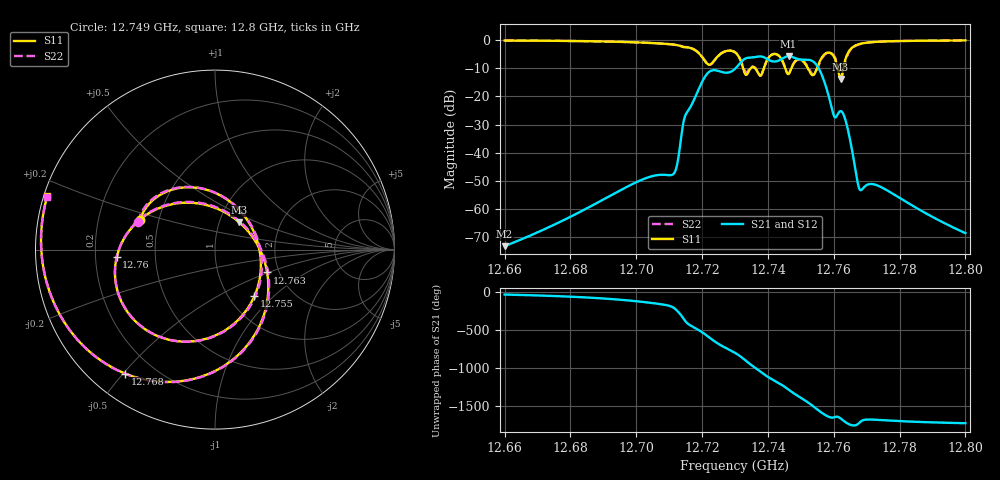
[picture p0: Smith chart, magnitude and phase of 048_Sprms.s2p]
! TOUCHSTONE file generated by CST MICROWAVE STUDIO
! Date and time: Wed Jul 31 13:05:54 2024
! Project name: WaveGuide_BPF-Ver4.1_U-shape_Ku_T3_C4_CWA_2.cst
! Parameters = {cavity_h=16; cavity_l0=10; cavity_l1=15.2143; cavity_l2=16.8076; cavity_l3=17.0819; cavity_l4=17.2275; cavity_l5=17.0959; cavity_l6=17.5924; cavity_r=2.5; cavity_screw_l=0.5; cavity_screw_r=1.5; cavity_w=8; iris_h00=0; iris_h01=8.8243; iris_h112=0; iris_h12=5.6008; iris_h211=3.6589; 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
! Header version: 2018
! Port assignment regex: !\s*Touchstone port\s*([0-9]+)\s*=\s*(CST MWS port|CST DS port)\s*([0-9]+|Zmin|Zmax)\s*\(\"(.*)\"\)(\s*mode\s*([0-9]+))?.*
! Touchstone port assignment:
! Touchstone port 1 = CST MWS port 1 ("")
! Touchstone port 2 = CST MWS port 2 ("")
# GHz S RI R 50
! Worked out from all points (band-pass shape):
!   5001 points, 12.66 GHz to 12.8 GHz, reference 50 ohm
!   highest |S21| = -5.77 dB at 12.746 GHz (marker M1); lowest = -73.2 dB at 12.66 GHz (marker M2)
!   |S21| within 3 dB of the highest: 12.73116 GHz to 12.75474 GHz (23.58 MHz wide, 0.185 % of centre)
!   lowest |S11| = -13.8 dB at 12.762 GHz (marker M3), VSWR 1.51, Z = 62.1 + j19.7 ohm
!   |S11| at or under -10 dB: 12.73246 GHz to 12.73481 GHz (2.349 MHz wide, 0.0184 % of centre); 12.73612 GHz to 12.73878 GHz (2.662 MHz wide, 0.0209 % of centre); 12.75213 GHz to 12.7549 GHz (2.772 MHz wide, 0.0217 % of centre) (the widest 3 of 5)
!   |S22| runs from -13.6 to -0.2 dB; largest |S21 - S12| = 1e-09
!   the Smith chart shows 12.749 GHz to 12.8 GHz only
!   S11 on the Smith chart (normalised r, x): 12.749 GHz: 0.39, +0.16; 12.755 GHz: 1.30, -0.77; 12.76 GHz: 0.29, -0.04; 12.763 GHz: 1.73, -0.49; 12.768 GHz: 0.10, -0.51; 12.8 GHz: 0.01, +0.16
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12.66  0.392 0.8972  0.000195 -0.0001  0.000195 -0.0001  0.3857 0.9
12.68335  0.8069 0.5129  0.000428 -0.000811  0.000428 -0.000811  0.8015 0.522
12.70668  0.4525 -0.7447  -0.00348 -0.00202  -0.00348 -0.00202  0.4734 -0.7333
12.71169  -0.1218 -0.8142  -0.00384 0.00235  -0.00384 0.00235  -0.0925 -0.8206
12.71684  -0.6555 -0.2672  0.00714 -0.071  0.00714 -0.071  -0.646 -0.3021
12.72073  -0.1112 0.4177  -0.2146 0.0231  -0.2146 0.0231  -0.152 0.4111
12.72392  0.3921 -0.2201  0.0908 0.2763  0.0908 0.2763  0.3998 -0.1891
12.73  -0.5363 -0.2779  0.0739 -0.2992  0.0739 -0.2992  -0.5259 -0.3083
12.73367  -0.2299 -0.0894  -0.467 0.11  -0.467 0.11  -0.255 -0.0927
12.7389  -0.2437 -0.2263  0.4893 -0.0164  0.4893 -0.0164  -0.2429 -0.227
12.74288  -0.5443 0.0575  -0.0991 -0.4108  -0.0991 -0.4108  -0.5473 0.0511
12.74627  -0.2456 0.0424  -0.4811 0.1835  -0.4811 0.1835  -0.2515 0.0399
12.74912  -0.4177 0.1629  0.1182 0.4432  0.1182 0.4432  -0.4291 0.1523
12.75335  0.1894 0.1497  0.2928 -0.3126  0.2928 -0.3126  0.1636 0.1914
12.75512  0.219 -0.2606  -0.095 -0.325  -0.095 -0.325  0.2422 -0.214
12.75965  -0.5476 -0.042  -0.0467 0.027  -0.0467 0.027  -0.5542 -0.0775
12.76209  0.1349 0.1523  -0.0415 0.0356  -0.0415 0.0356  0.0896 0.1932
12.7629  0.2903 -0.1272  -0.0178 0.0453  -0.0178 0.0453  0.2811 -0.0649
12.76802  -0.5004 -0.6908  -8.51e-05 0.00218  -8.51e-05 0.00218  -0.4776 -0.7002
12.77668  -0.9107 -0.2641  -0.000757 0.00193  -0.000757 0.00193  -0.9071 -0.2738
12.79994  -0.935 0.2976  8.93e-05 0.000364  8.93e-05 0.000364  -0.9365 0.2925
12.8  -0.9348 0.2984  8.93e-05 0.000362  8.93e-05 0.000362  -0.9363 0.2933
